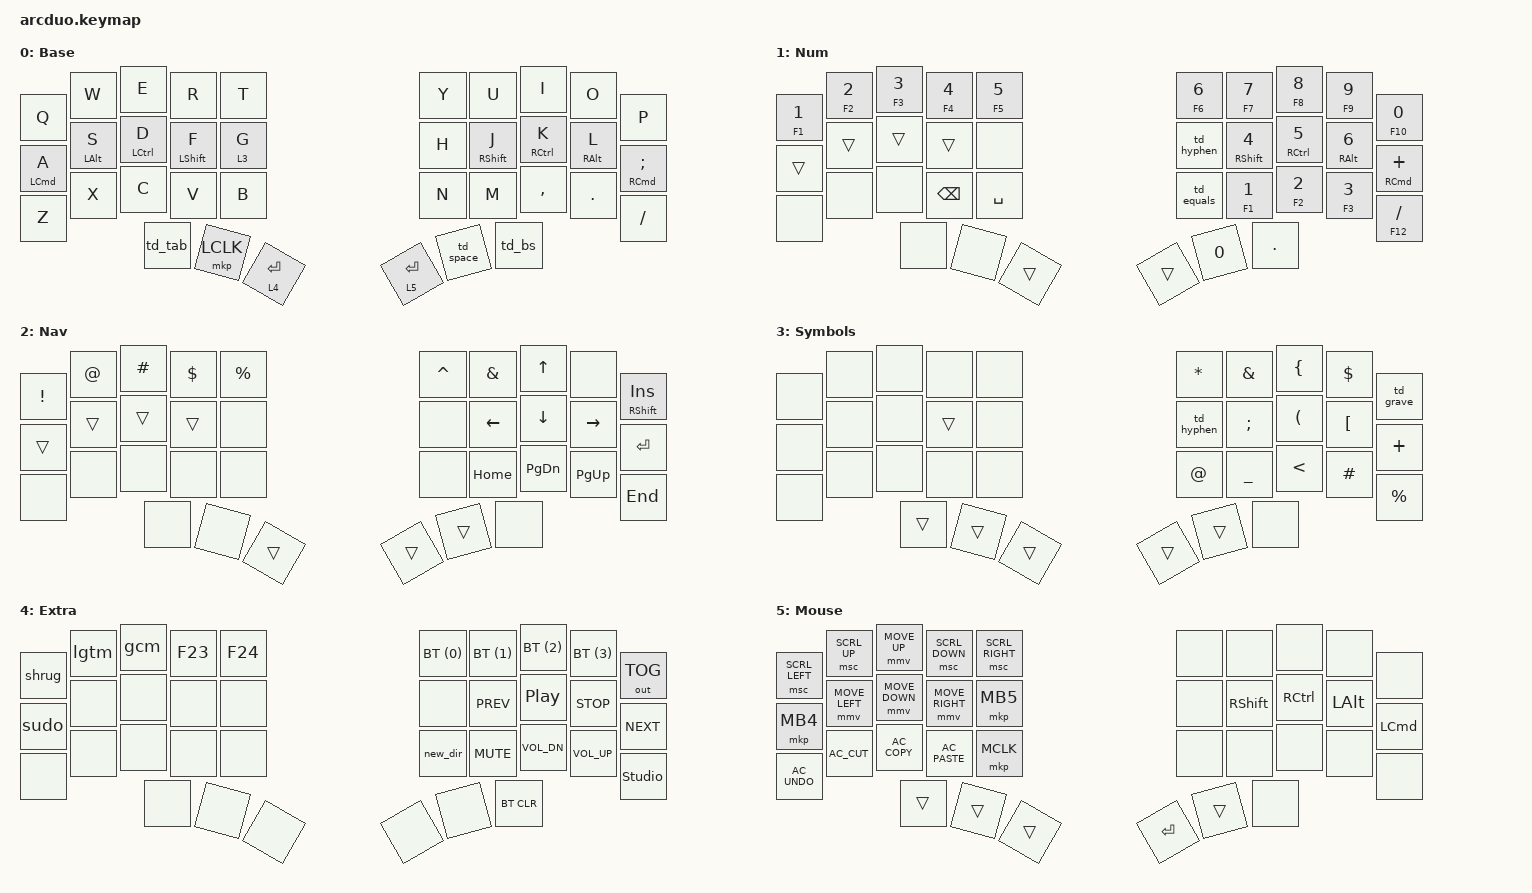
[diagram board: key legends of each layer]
#include <behaviors.dtsi>
#include <dt-bindings/zmk/bt.h>
#include <dt-bindings/zmk/keys.h>
#include <dt-bindings/zmk/pointing.h>
#include <dt-bindings/zmk/mouse.h>
#include <dt-bindings/zmk/outputs.h>
#include <behaviors/mouse_keys.dtsi>
#include <dt-bindings/zmk/ext_power.h>
#include "combos.dtsi"
#include "macros.dtsi"
#include "behaviors.dtsi"

/ {

// ╭──────┬──────┬──────┬──────┬──────╮                ╭──────┬──────┬──────┬──────┬──────╮
//    00     01     02     03    04                       05     06     07     08     09
// ├──────┼──────┼──────┼──────┼──────┤                ├──────┼──────┼──────┼──────┼──────┤
//    10     11     12     13    14                       15     16     17     18     19
// ├──────┼──────┼──────┼──────┼──────┤                ├──────┼──────┼──────┼──────┼──────┤
//    20     21     22     23    24                       25     26     27     28     29
// ╰──────┴──────┴──────┼──────┼──────┼──────╮  ╭──────┼──────┼──────┴──────┴──────┴──────╯
//                         30     31     32        33     34     35
//                      ╰──────┴──────┴──────╯  ╰──────┴──────┴──────╯
// #define BASE    0
// #define NUM     1
// #define NAV     2
// #define SYM     3
// #define EXTRAS  4
// #define MOUSE   5

  keymap {
       compatible = "zmk,keymap";
        BASE {
            display-name = "Base";     
            bindings = <
// ╭────────────────┬────────────────┬────────────────┬────────────────┬────────────────╮                                           ╭────────────────┬────────────────┬────────────────┬────────────────┬────────────────╮
     &kp Q            &kp W            &kp E            &kp R            &kp T                                                        &kp Y            &kp U            &kp I            &kp O            &kp P
// ├────────────────┼────────────────┼────────────────┼────────────────┼────────────────┤                                           ├────────────────┼────────────────┼────────────────┼────────────────┼────────────────┤
     &hml LCMD A      &hml LALT S      &hml LCTRL D     &hml LSHIFT F    &lt 3 G                                                      &kp H            &hmr RSHIFT J    &hmr RCTRL K     &hmr RALT L      &hmr RCMD SEMI
// ├────────────────┼────────────────┼────────────────┼────────────────┼────────────────┤                                           ├────────────────┼────────────────┼────────────────┼────────────────┼────────────────┤
     &kp Z            &kp X            &kp C            &kp V            &kp B                                                        &kp N            &kp M            &kp COMMA        &kp PERIOD       &kp SLASH
// ╰────────────────┴────────────────┴────────────────┼────────────────┼────────────────┼────────────────╮       ╭──────────────────┼────────────────┼────────────────┴────────────────┴────────────────┴────────────────╯
                                                        &td_tab          &mkp LCLK        &lt 4 RETURN             &lt 5 RETURN       &td_space        &td_bs                  
                                                   // ╰────────────────┴────────────────┴────────────────╯       ╰──────────────────┴────────────────┴────────────────╯
            >;
        };

        NUM {
            display-name = "Num";     
            bindings = <
// ╭────────────────┬────────────────┬────────────────┬────────────────┬────────────────╮                                           ╭────────────────┬────────────────┬────────────────┬────────────────┬────────────────╮
     &hm F1 N1        &hm F2 N2        &hm F3 N3        &hm F4 N4        &hm F5 N5                                                    &hm F6 N6        &hm F7 N7        &hm F8 N8        &hm F9 N9        &hm F10 N0
// ├────────────────┼────────────────┼────────────────┼────────────────┼────────────────┤                                           ├────────────────┼────────────────┼────────────────┼────────────────┼────────────────┤
     &trans           &trans           &trans           &trans           &none                                                        &td_hyphen       &hmr RSHIFT N4   &hmr RCTRL N5    &hmr RALT N6     &hmr RCMD  PLUS
// ├────────────────┼────────────────┼────────────────┼────────────────┼────────────────┤                                           ├────────────────┼────────────────┼────────────────┼────────────────┼────────────────┤
     &none            &none            &none            &kp BACKSPACE    &kp SPACE                                                    &td_equals       &hm F1 N1        &hm F2 N2        &hm F3 N3        &hm F12 SLASH
// ╰────────────────┴────────────────┴────────────────┼────────────────┼────────────────┼────────────────╮       ╭──────────────────┼────────────────┼────────────────┴────────────────┴────────────────┴────────────────╯
                                                        &none            &none            &trans                   &trans             &kp N0           &kp DOT                          
                                                   // ╰────────────────┴────────────────┴────────────────╯       ╰──────────────────┴────────────────┴────────────────╯
            >;
        };

        NAV {
            display-name = "Nav";     
            bindings = <
// ╭────────────────┬────────────────┬────────────────┬────────────────┬────────────────╮                                           ╭────────────────┬────────────────┬────────────────┬────────────────┬────────────────╮
     &kp EXCL         &kp AT           &kp HASH         &kp DOLLAR       &kp PERCENT                                                  &kp CARET        &kp AMPERSAND    &kp UP           &none            &mt RSHIFT INSERT
// ├────────────────┼────────────────┼────────────────┼────────────────┼────────────────┤                                           ├────────────────┼────────────────┼────────────────┼────────────────┼────────────────┤
     &trans           &trans           &trans           &trans           &none                                                        &none            &kp LEFT_ARROW   &kp DOWN         &kp RIGHT_ARROW  &kp RETURN
// ├────────────────┼────────────────┼────────────────┼────────────────┼────────────────┤                                           ├────────────────┼────────────────┼────────────────┼────────────────┼────────────────┤
     &none            &none            &none            &none            &none                                                        &none            &kp HOME         &kp PG_DN        &kp PG_UP        &kp END
// ╰────────────────┴────────────────┴────────────────┼────────────────┼────────────────┼────────────────╮       ╭──────────────────┼────────────────┼────────────────┴────────────────┴────────────────┴────────────────╯
                                                        &none            &none            &trans                   &trans             &trans           &none                          
                                                   // ╰────────────────┴────────────────┴────────────────╯       ╰──────────────────┴────────────────┴────────────────╯
            >;
        };

        SYM {
            display-name = "Symbols";     
            bindings = <
// ╭────────────────┬────────────────┬────────────────┬────────────────┬────────────────╮                                           ╭────────────────┬────────────────┬────────────────┬────────────────┬────────────────╮
     &none            &none            &none            &none            &none                                                        &kp ASTRK        &kp AMPS         &kp LEFT_BRACE   &kp DLLR         &td_grave
// ├────────────────┼────────────────┼────────────────┼────────────────┼────────────────┤                                           ├────────────────┼────────────────┼────────────────┼────────────────┼────────────────┤
     &none            &none            &none            &trans           &none                                                        &td_hyphen       &kp SEMI         &kp LPAR         &kp LBKT         &kp PLUS
// ├────────────────┼────────────────┼────────────────┼────────────────┼────────────────┤                                           ├────────────────┼────────────────┼────────────────┼────────────────┼────────────────┤
     &none            &none            &none            &none            &none                                                        &kp AT_SIGN      &kp UNDERSCORE   &kp LT           &kp HASH         &kp PRCNT
// ╰────────────────┴────────────────┴────────────────┼────────────────┼────────────────┼────────────────╮       ╭──────────────────┼────────────────┼────────────────┴────────────────┴────────────────┴────────────────╯
                                                        &trans           &trans           &trans                   &trans             &trans           &none                          
                                                   // ╰────────────────┴────────────────┴────────────────╯       ╰──────────────────┴────────────────┴────────────────╯
            >;
        };


        EXTRAS {
            display-name = "Extra";     
            bindings = <
// ╭────────────────┬────────────────┬────────────────┬────────────────┬────────────────╮                                           ╭────────────────┬────────────────┬────────────────┬────────────────┬────────────────╮
     &shrug           &lgtm            &gcm             &kp F23          &kp F24                                                      &bt BT_SEL(0)    &bt BT_SEL(1)    &bt BT_SEL(2)    &bt BT_SEL(3)    &out OUT_TOG
// ├────────────────┼────────────────┼────────────────┼────────────────┼────────────────┤                                           ├────────────────┼────────────────┼────────────────┼────────────────┼────────────────┤
     &sudo            &none            &none            &none            &none                                                        &none            &kp C_PREV       &kp C_PP         &kp C_STOP       &kp C_NEXT
// ├────────────────┼────────────────┼────────────────┼────────────────┼────────────────┤                                           ├────────────────┼────────────────┼────────────────┼────────────────┼────────────────┤
     &none            &none            &none            &none            &none                                                        &new_dir         &kp K_MUTE       &kp C_VOL_DN     &kp C_VOL_UP     &studio_unlock
// ╰────────────────┴────────────────┴────────────────┼────────────────┼────────────────┼────────────────╮       ╭──────────────────┼────────────────┼────────────────┴────────────────┴────────────────┴────────────────╯
                                                        &none            &none            &none                    &none              &none            &bt BT_CLR                         
                                                   // ╰────────────────┴────────────────┴────────────────╯       ╰──────────────────┴────────────────┴────────────────╯           
            >;
        };

        MOUSE {
            display-name = "Mouse";     
            bindings = <
// ╭────────────────┬────────────────┬────────────────┬────────────────┬────────────────╮                                           ╭────────────────┬────────────────┬────────────────┬────────────────┬────────────────╮
     &msc SCRL_LEFT   &msc SCRL_UP     &mmv MOVE_UP     &msc SCRL_DOWN   &msc SCRL_RIGHT                                              &none             &none            &none            &none            &none
// ├────────────────┼────────────────┼────────────────┼────────────────┼────────────────┤                                           ├────────────────┼────────────────┼────────────────┼────────────────┼────────────────┤
     &mkp MB4         &mmv MOVE_LEFT   &mmv MOVE_DOWN   &mmv MOVE_RIGHT  &mkp MB5                                                     &none             &kp RSHIFT       &kp RCTRL        &kp LALT         &kp LCMD
// ├────────────────┼────────────────┼────────────────┼────────────────┼────────────────┤                                           ├────────────────┼────────────────┼────────────────┼────────────────┼────────────────┤
     &kp C_AC_UNDO    &kp C_AC_CUT     &kp C_AC_COPY    &kp C_AC_PASTE   &mkp MCLK                                                    &none             &none            &none            &none            &none
// ╰────────────────┴────────────────┴────────────────┼────────────────┼────────────────┼────────────────╮       ╭──────────────────┼────────────────┼────────────────┴────────────────┴────────────────┴────────────────╯
                                                        &trans           &trans           &trans                   &kp RETURN         &trans            &none                          
                                                   // ╰────────────────┴────────────────┴────────────────╯       ╰──────────────────┴────────────────┴────────────────╯           
            >;
        };
  };
};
